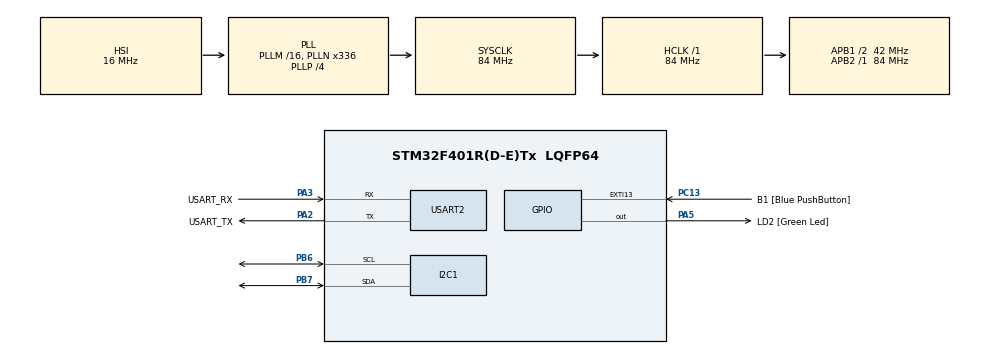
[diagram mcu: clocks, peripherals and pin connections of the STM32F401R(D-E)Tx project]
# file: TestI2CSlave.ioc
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I2C1.OwnAddress=0x20
Mcu.Family=STM32F4
Mcu.Name=STM32F401R(D-E)Tx
Mcu.Package=LQFP64
NVIC.I2C1_EV_IRQn=true\:0\:0\:false\:false\:true\:true\:true\:true
NVIC.PriorityGroup=NVIC_PRIORITYGROUP_0
PA13.GPIO_Label=TMS
PA13.Mode=Serial_Wire
PA13.Signal=SYS_JTMS-SWDIO
PA14.GPIO_Label=TCK
PA14.Mode=Serial_Wire
PA14.Signal=SYS_JTCK-SWCLK
PA2.GPIO_Label=USART_TX
PA2.GPIO_Mode=GPIO_MODE_AF_PP
PA2.GPIO_PuPd=GPIO_NOPULL
PA2.GPIO_Speed=GPIO_SPEED_FREQ_LOW
PA2.Mode=Asynchronous
PA2.Signal=USART2_TX
PA3.GPIO_Label=USART_RX
PA3.GPIO_Mode=GPIO_MODE_AF_PP
PA3.GPIO_PuPd=GPIO_NOPULL
PA3.GPIO_Speed=GPIO_SPEED_FREQ_LOW
PA3.Mode=Asynchronous
PA3.Signal=USART2_RX
PA5.GPIO_Label=LD2 [Green Led]
PA5.GPIO_Mode=GPIO_MODE_OUTPUT_PP
PA5.GPIO_PuPd=GPIO_NOPULL
PA5.GPIO_Speed=GPIO_SPEED_FREQ_LOW
PA5.Signal=GPIO_Output
PB3.GPIO_Label=SWO
PB3.Signal=SYS_JTDO-SWO
PB6.Mode=I2C
PB6.Signal=I2C1_SCL
PB7.Mode=I2C
PB7.Signal=I2C1_SDA
PC13-ANTI_TAMP.GPIO_Label=B1 [Blue PushButton]
PC13-ANTI_TAMP.GPIO_ModeDefaultEXTI=GPIO_MODE_IT_FALLING
PC13-ANTI_TAMP.GPIO_PuPd=GPIO_NOPULL
PC13-ANTI_TAMP.Signal=GPXTI13
PC14-OSC32_IN.Mode=LSE-External-Oscillator
PC14-OSC32_IN.Signal=RCC_OSC32_IN
PC15-OSC32_OUT.Mode=LSE-External-Oscillator
PC15-OSC32_OUT.Signal=RCC_OSC32_OUT
PH0\ -\ OSC_IN.Mode=HSE-External-Clock-Source
PH0\ -\ OSC_IN.Signal=RCC_OSC_IN
PH1\ -\ OSC_OUT.Mode=HSE-External-Clock-Source
PH1\ -\ OSC_OUT.Signal=RCC_OSC_OUT
ProjectManager.HeapSize=0x200
ProjectManager.StackSize=0x400
ProjectManager.TargetToolchain=STM32CubeIDE
RCC.48MHZClocksFreq_Value=48000000
RCC.AHBFreq_Value=84000000
RCC.APB1CLKDivider=RCC_HCLK_DIV2
RCC.APB1Freq_Value=42000000
RCC.APB1TimFreq_Value=84000000
RCC.APB2Freq_Value=84000000
RCC.APB2TimFreq_Value=84000000
RCC.CortexFreq_Value=84000000
RCC.HCLKFreq_Value=84000000
RCC.HSE_VALUE=8000000
RCC.HSI_VALUE=16000000
RCC.PLLN=336
RCC.PLLP=RCC_PLLP_DIV4
RCC.PLLQ=7
RCC.SYSCLKFreq_VALUE=84000000
RCC.SYSCLKSource=RCC_SYSCLKSOURCE_PLLCLK
RCC.VCOOutputFreq_Value=336000000
USART2.VirtualMode=VM_ASYNC
board=NUCLEO-F401RE

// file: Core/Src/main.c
/* USER CODE BEGIN Header */
/**
  ******************************************************************************
  * @file           : main.c
  * @brief          : Main program body
  ******************************************************************************
  * @attention
  *
  * Copyright (c) 2022 STMicroelectronics.
  * All rights reserved.
  *
  * This software is licensed under terms that can be found in the LICENSE file
  * in the root directory of this software component.
  * If no LICENSE file comes with this software, it is provided AS-IS.
  *
  ******************************************************************************
  */
/* USER CODE END Header */
#include "main.h"
#include "i2c.h"
#include "usart.h"
#include "gpio.h"

/* USER CODE BEGIN Includes */
#include "stdio.h"
#include "retarget.h"
                TXBUFFERSIZE

// emulated I2C RAM
static uint8_t ram[256];
static uint8_t offset; 	// index of current RAM cell
static uint8_t first=1;	// first byte --> new offset

/* USER CODE END Includes */

/* USER CODE BEGIN PTD */
__IO uint32_t     Transfer_Direction = 0;
__IO uint32_t     Xfer_Complete = 0;
/* USER CODE END PTD */

void SystemClock_Config(void);

int main(void)
{

  /* MCU Configuration--------------------------------------------------------*/

  /* Reset of all peripherals, Initializes the Flash interface and the Systick. */
  HAL_Init();

  /* Configure the system clock */
  SystemClock_Config();

  /* Initialize all configured peripherals */
  MX_GPIO_Init();
  MX_USART2_UART_Init();
  MX_I2C1_Init();
  /* USER CODE BEGIN 2 */
  RetargetInit(&huart2);
  if(HAL_I2C_EnableListen_IT(&hi2c1) != HAL_OK)
  {
    /* Transfer error in reception process */
    Error_Handler();
  }
//  HAL_I2C_Slave_Receive_IT(&hi2c1,aRxBuffer,sizeof(aRxBuffer));  //Enable slave interrupt reception
  /* USER CODE END 2 */

  /* Infinite loop */
  while (1)
  {

  }
}

void SystemClock_Config(void)
{
  RCC_OscInitTypeDef RCC_OscInitStruct = {0};
  RCC_ClkInitTypeDef RCC_ClkInitStruct = {0};

  /** Configure the main internal regulator output voltage
  */
  __HAL_RCC_PWR_CLK_ENABLE();
  __HAL_PWR_VOLTAGESCALING_CONFIG(PWR_REGULATOR_VOLTAGE_SCALE2);

  /** Initializes the RCC Oscillators according to the specified parameters
  * in the RCC_OscInitTypeDef structure.
  */
  RCC_OscInitStruct.OscillatorType = RCC_OSCILLATORTYPE_HSI;
  RCC_OscInitStruct.HSIState = RCC_HSI_ON;
  RCC_OscInitStruct.HSICalibrationValue = RCC_HSICALIBRATION_DEFAULT;
  RCC_OscInitStruct.PLL.PLLState = RCC_PLL_ON;
  RCC_OscInitStruct.PLL.PLLSource = RCC_PLLSOURCE_HSI;
  RCC_OscInitStruct.PLL.PLLM = 16;
  RCC_OscInitStruct.PLL.PLLN = 336;
  RCC_OscInitStruct.PLL.PLLP = RCC_PLLP_DIV4;
  RCC_OscInitStruct.PLL.PLLQ = 7;
  if (HAL_RCC_OscConfig(&RCC_OscInitStruct) != HAL_OK)
  {
    Error_Handler();
  }

  /** Initializes the CPU, AHB and APB buses clocks
  */
  RCC_ClkInitStruct.ClockType = RCC_CLOCKTYPE_HCLK|RCC_CLOCKTYPE_SYSCLK
                              |RCC_CLOCKTYPE_PCLK1|RCC_CLOCKTYPE_PCLK2;
  RCC_ClkInitStruct.SYSCLKSource = RCC_SYSCLKSOURCE_PLLCLK;
  RCC_ClkInitStruct.AHBCLKDivider = RCC_SYSCLK_DIV1;
  RCC_ClkInitStruct.APB1CLKDivider = RCC_HCLK_DIV2;
  RCC_ClkInitStruct.APB2CLKDivider = RCC_HCLK_DIV1;

  if (HAL_RCC_ClockConfig(&RCC_ClkInitStruct, FLASH_LATENCY_2) != HAL_OK)
  {
    Error_Handler();
  }
}

/* USER CODE BEGIN 4 */
void HAL_I2C_ListenCpltCallback(I2C_HandleTypeDef *hi2c)
{
	printf("LCB\n");
	first = 1;
	HAL_I2C_EnableListen_IT(hi2c); // slave is ready again
}

void HAL_I2C_AddrCallback(I2C_HandleTypeDef *hi2c, uint8_t TransferDirection, uint16_t AddrMatchCode)
{
	printf("ACB %s\n", TransferDirection==I2C_DIRECTION_RECEIVE ? "rx" : "tx" );
//	HAL_GPIO_WritePin( LD2_GPIO_Port, LD2_Pin, GPIO_PIN_SET );
	if( TransferDirection==I2C_DIRECTION_TRANSMIT ) {
		if( first ) {
			HAL_I2C_Slave_Seq_Receive_IT(hi2c, &offset, 1, I2C_NEXT_FRAME);
		} else {
			HAL_I2C_Slave_Seq_Receive_IT(hi2c, &ram[offset], 1, I2C_NEXT_FRAME);
		}
	} else {
		HAL_I2C_Slave_Seq_Transmit_IT(hi2c, &ram[offset], 1, I2C_NEXT_FRAME);
	}
//	HAL_GPIO_WritePin( LD2_GPIO_Port, LD2_Pin, GPIO_PIN_RESET );
}

void HAL_I2C_SlaveRxCpltCallback(I2C_HandleTypeDef *hi2c)
{
//	HAL_GPIO_WritePin( PA6_GPIO_Port, PA6_Pin, GPIO_PIN_SET );
	if(first) {
		printf("RXCB: offset <== %3d\n", offset );
		first = 0;
	} else {
		printf("RXCB: ram[%3d] <== %3d\n", offset,  ram[offset] );
		offset++;
	}
	HAL_I2C_Slave_Seq_Receive_IT(hi2c, &ram[offset], 1, I2C_NEXT_FRAME);
//	HAL_GPIO_WritePin(PA6_GPIO_Port, PA6_Pin, GPIO_PIN_RESET );
}

void HAL_I2C_SlaveTxCpltCallback(I2C_HandleTypeDef *hi2c)
{
//	HAL_GPIO_WritePin( PA7_GPIO_Port, PA7_Pin, GPIO_PIN_SET );
	printf("TXCB: ram[%3d] ==> %3d\n", offset, ram[offset] );
	offset++;
	HAL_I2C_Slave_Seq_Transmit_IT(hi2c, &ram[offset], 1, I2C_NEXT_FRAME);
//	HAL_GPIO_WritePin( PA7_GPIO_Port, PA7_Pin, GPIO_PIN_RESET );
}

void HAL_I2C_ErrorCallback(I2C_HandleTypeDef *hi2c)
{
//	HAL_GPIO_WritePin( PA9_GPIO_Port, PA9_Pin, GPIO_PIN_SET );
	if( HAL_I2C_GetError(hi2c)==HAL_I2C_ERROR_AF ) {
		// transaction terminated by master
		printf("ECB end\n" );
		offset--;
	} else {
		printf("ECB err=0x%02X\n", HAL_I2C_GetError(hi2c) );
	}
//	HAL_GPIO_WritePin( PA9_GPIO_Port, PA9_Pin, GPIO_PIN_RESET );
}

void HAL_I2C_AbortCpltCallback(I2C_HandleTypeDef *hi2c)
{
	printf("aborted\n" );  // never seen...
}

/* USER CODE END 4 */

void Error_Handler(void)
{
  __disable_irq();
  while (1)
  {
  }
}
